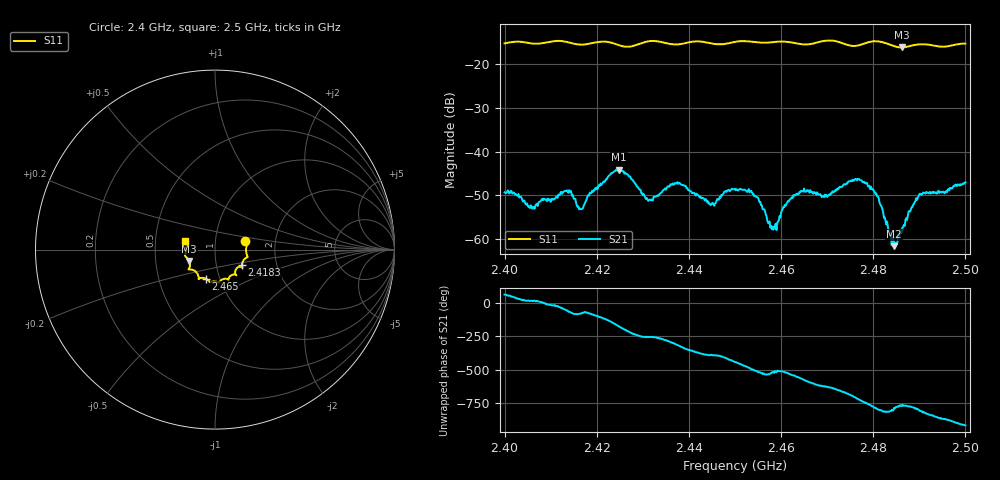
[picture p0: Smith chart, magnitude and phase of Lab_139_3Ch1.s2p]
# Hz S RI R 50
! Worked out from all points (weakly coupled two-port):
!   601 points, 2.4 GHz to 2.5 GHz, reference 50 ohm
!   highest |S21| = -44.09 dB at 2.4248 GHz (marker M1); lowest = -61.7 dB at 2.4845 GHz (marker M2)
!   lowest |S11| = -16.1 dB at 2.4862 GHz (marker M3), VSWR 1.37, Z = 37.2 - j4.8 ohm
!   |S11| at or under -10 dB: start of sweep to end of sweep
!   S12 and S22 are empty: the file has one direction only
!   S11 on the Smith chart (normalised r, x): 2.4 GHz: 1.40, +0.13; 2.4183 GHz: 1.33, -0.24; 2.465 GHz: 0.86, -0.28; 2.5 GHz: 0.71, +0.07
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2.4e9  0.1683 0.0466  0.0016 0.00302  0 0  0 0
2.406e9  0.1737 0.00879  0.00215 0.000584  0 0  0 0
2.413833e9  0.1736 -0.0457  0.00143 -0.00306  0 0  0 0
2.416667e9  0.1546 -0.0676  0.000364 -0.00217  0 0  0 0
2.418333e9  0.1498 -0.0864  0.000551 -0.00309  0 0  0 0
2.424833e9  0.1356 -0.0956  -0.00624 -0.000257  0 0  0 0
2.431e9  0.1167 -0.1416  -0.000667 0.00275  0 0  0 0
2.433333e9  0.1174 -0.1412  -0.00042 0.00309  0 0  0 0
2.4375e9  0.0864 -0.146  0.00317 0.00314  0 0  0 0
2.445167e9  0.0608 -0.162  0.00221 -0.00136  0 0  0 0
2.45e9  0.0254 -0.1798  0.00043 -0.00373  0 0  0 0
2.4545e9  0.0116 -0.1797  -0.00261 -0.00162  0 0  0 0
2.4585e9  -0.0205 -0.1795  -0.00131 -0.000378  0 0  0 0
2.465e9  -0.0527 -0.1614  -0.00305 0.00223  0 0  0 0
2.466667e9  -0.0712 -0.1571  -0.0016 0.00301  0 0  0 0
2.477167e9  -0.1235 -0.1132  0.00467 -0.000776  0 0  0 0
2.480667e9  -0.1479 -0.1105  0.0012 -0.0031  0 0  0 0
2.483333e9  -0.141 -0.0966  -0.000126 -0.00124  0 0  0 0
2.4845e9  -0.1393 -0.0834  0.000324 -0.000759  0 0  0 0
2.486167e9  -0.1435 -0.063  0.000712 -0.000946  0 0  0 0
2.490333e9  -0.1667 -0.0359  5.15e-06 -0.00327  0 0  0 0
2.5e9  -0.1669 0.0468  -0.00424 0.00137  0 0  0 0
